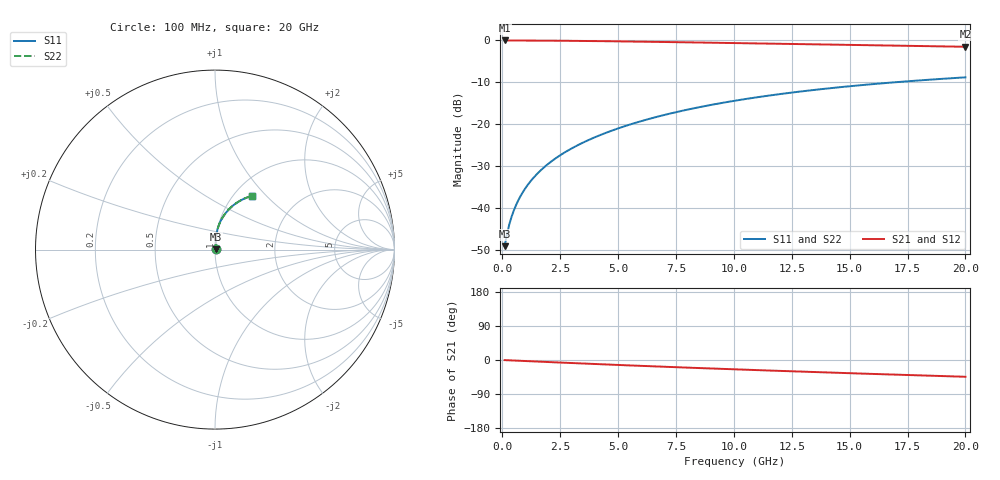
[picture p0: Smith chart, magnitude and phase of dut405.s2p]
! Touchstone file exported from HFSS 2024.1.0
!  File:  C:/UserFiles/LocalFiles/RDL_TSV_Batchsim/temp_RDL_top_405_1779675374.aedt
!  Generated:  10:18:49 AM May 25, 2026
!  Design:  RDL_top
!  Project:  temp_RDL_top_405_1779675374
!  Setup:  Setup1
!  Solution:  Sweep
! Variables:
!  dtsv = 10.80580581um
!  hbump = 3um
!  htsv = 83.5um
!  ldown = 100um
!  lrdl = 639.88um
!  p = 40
!  p1 = 51.18um
!  rhole = 1um
!  t = 450um
!  tdown = 3.915915916um
!  trdl = 3.42um
!  wdown = 15.38538539um
!  wrdl = 24.37um
# GHz S MA R 50.000000
! Terminal data exported
! Port[1] = Box2_T1
! Port[2] = Box2_T2
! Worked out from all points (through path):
!   200 points, 100 MHz to 20 GHz, reference 50 ohm
!   highest |S21| = -0.03 dB at 100 MHz (marker M1); lowest = -1.5 dB at 20 GHz (marker M2)
!   group delay of S21, straight-line fit = 6.09 ps
!   lowest |S11| = -49.1 dB at 100 MHz (marker M3), VSWR 1.01, Z = 50.3 + j0.192 ohm
!   |S11| at or under -10 dB: start of sweep to 16.95 GHz
!   |S22| runs from -49.1 to -8.8 dB; largest |S21 - S12| = 3.3e-15
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0.1  0.003508 33.0  0.997 -0.3  0.997 -0.3  0.003508 33.0
! Gamma 0 0 0 0
! Port Impedance 50 0 50 0
0.2  0.004849 50.1  0.9968 -0.6  0.9968 -0.6  0.004849 50.1
0.3  0.006344 58.8  0.9966 -0.8  0.9966 -0.8  0.006344 58.8
0.4  0.007862 64.2  0.9964 -1.1  0.9964 -1.1  0.007862 64.2
0.5  0.009392 68.0  0.9962 -1.4  0.9962 -1.4  0.009391 68.0
0.6  0.01094 70.8  0.996 -1.7  0.996 -1.7  0.01094 70.8
0.8  0.01408 74.8  0.9956 -2.2  0.9956 -2.2  0.01408 74.8
1.1  0.0189 78.5  0.9949 -3.0  0.9949 -3.0  0.0189 78.5
1.3  0.02218 80.1  0.9944 -3.5  0.9944 -3.5  0.02218 80.1
1.6  0.02716 81.8  0.9934 -4.3  0.9934 -4.3  0.02716 81.8
2.1  0.03565 83.6  0.9915 -5.7  0.9915 -5.7  0.03565 83.5
2.7  0.04613 84.6  0.9886 -7.3  0.9886 -7.3  0.04612 84.6
3.5  0.06057 85.1  0.9838 -9.3  0.9838 -9.3  0.06056 85.1
4.2  0.07364 85.0  0.979 -11.1  0.979 -11.1  0.07363 85.0
5  0.08903 84.5  0.9729 -13.1  0.9729 -13.1  0.08901 84.5
6.8  0.1249 82.1  0.9577 -17.4  0.9577 -17.4  0.1249 82.1
8.4  0.1574 79.3  0.9434 -21.1  0.9434 -21.1  0.1573 79.3
10.1  0.1916 75.9  0.9277 -24.8  0.9277 -24.8  0.1916 75.9
11.7  0.223 72.5  0.913 -28.2  0.913 -28.2  0.223 72.5
13.4  0.255 68.9  0.8974 -31.6  0.8974 -31.6  0.255 68.9
16.7  0.3121 62.0  0.8675 -38.1  0.8675 -38.1  0.3121 62.1
20  0.362 55.6  0.8385 -44.2  0.8385 -44.2  0.362 55.6
